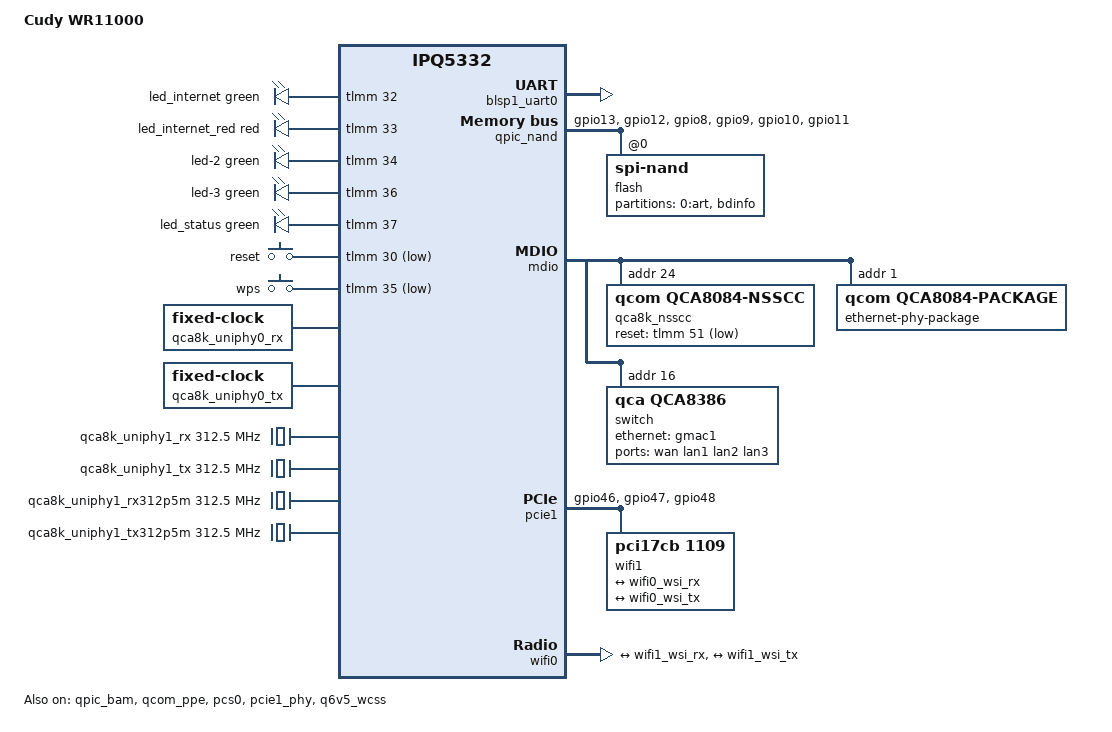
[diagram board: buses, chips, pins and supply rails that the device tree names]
// SPDX-License-Identifier: (GPL-2.0+ OR BSD-3-Clause)
/*
 * Cudy WR11000 (BE11000)
 *
 * Qualcomm IPQ5322 (IPQ5332 family), 512 MiB DDR4, 128 MiB SPI-NAND
 * (GigaDevice GD5F1GM7), 2.4 GHz on the SoC, 5 + 6 GHz on one QCN9224
 * (dual-MAC) on PCIe1, and a QCA8386 "Manhattan" switch with four 2.5G PHYs.
 *
 * Cudy calls the board "R65"; it is a derivative of the Qualcomm AP-MI01.6
 * reference design. Everything below was taken from Cudy's GPL release
 * (target/linux/ipq53xx/ipq53xx_32/R65/ipq5332-mi01.6.dts and
 * ipq5332-512MB-memory.dtsi) and the stock v2.5.234 UART boot log, then
 * mapped onto the mainline bindings the GL-BE9300/BE6500 ports use.
 */

/dts-v1/;

#include <arm64/qcom/ipq5332.dtsi>

#include <dt-bindings/gpio/gpio.h>
#include <dt-bindings/input/input.h>
#include <dt-bindings/leds/common.h>
#include <dt-bindings/clock/qcom,ipq5332-nsscc.h>
#include <dt-bindings/clock/qcom,qca8k-nsscc.h>
#include <dt-bindings/reset/qcom,qca8k-nsscc.h>
#include <dt-bindings/net/qcom,qca808x.h>

/ {
	#address-cells = <0x2>;
	#size-cells = <0x2>;
	model = "Cudy WR11000";
	compatible = "cudy,wr11000", "qcom,ipq5332";

	aliases {
		serial0 = &blsp1_uart0;
		led-boot = &led_status;
		led-failsafe = &led_internet_red;
		led-running = &led_status;
		led-upgrade = &led_status;
	};

	chosen {
		stdout-path = "serial0:115200n8";
		/*
		 * Stock U-Boot passes "ubi.mtd=rootfs root=mtd:ubi_rootfs
		 * rootfstype=squashfs". ubi.mtd=rootfs is what we want (the
		 * SBL always names the active slot "rootfs"); the root= is
		 * overridden here because OpenWrt's UBI image calls the
		 * squashfs volume "rootfs" (index 1), not "ubi_rootfs".
		 */
		bootargs-append = " root=/dev/ubiblock0_1";
	};

	/*
	 * 512 MiB memory profile, as in Cudy's ipq5332-512MB-memory.dtsi.
	 * The 512 MiB profile does not reserve tzapp (0x49b00000) - the vendor
	 * DT leaves it unset for 512M/256M - so neither do we.
	 */
	reserved-memory {
		#address-cells = <2>;
		#size-cells = <2>;
		ranges;

		/*
		 * UserPD host DDR / BDF window: the tail of q6_region, the same
		 * overlapping sub-window the GL-BE9300 port uses (vendor
		 * qcom,bdf-addr = 0x4b500000). of_reserved_mem logs "OVERLAP
		 * DETECTED" for this and carries on; that is expected.
		 */
		q6_host_ddr: host-ddr@4b500000 {
			reg = <0x0 0x4b500000 0x0 0x01700000>;
			no-map;
		};

		m3_dump: m3-dump@4cc00000 {
			reg = <0x0 0x4cc00000 0x0 0x100000>;
			no-map;
		};

		q6_etr: q6-etr-dump@4cd00000 {
			reg = <0x0 0x4cd00000 0x0 0x100000>;
			no-map;
		};

		q6_caldb: q6-caldb@4ce00000 {
			reg = <0x0 0x4ce00000 0x0 0x500000>;
			no-map;
		};

		/*
		 * Keep dmesg across a warm reset (read it back from
		 * /sys/fs/pstore). Sits in the unreserved gap between
		 * q6-caldb (ends 0x4d2fffff) and mlo-global-mem; mapped on
		 * purpose (no "no-map"), ramoops has to write here.
		 */
		ramoops@4da00000 {
			compatible = "ramoops";
			reg = <0x0 0x4da00000 0x0 0x100000>;
			console-size = <0x40000>;
			record-size = <0x20000>;
			pmsg-size = <0x20000>;
		};

		mlo_mem: mlo-global-mem@4db00000 {
			reg = <0x0 0x4db00000 0x0 0x01200000>;
			no-map;
		};

		/*
		 * QCN9224 host DDR, at the vendor's first WKK slot with the
		 * vendor 512 MiB profile's size, 37 MiB. The GL-BE9300/BE6500
		 * ports use 50 MiB, but they have 1 GiB of RAM. The in-tree
		 * firmware uses 32.3 MiB here in memory mode 1 ("using fixed
		 * PCI host DDR ... used 33857536"); a request that does not
		 * fit fails loudly ("exceeds host DDR size").
		 */
		qcn9274_host_ddr: qcn9274-host-ddr@4ed00000 {
			reg = <0x0 0x4ed00000 0x0 0x02500000>;
			no-map;
		};
	};

	/* GPIOs and polarity from the vendor R65 DT (all active high). */
	leds {
		compatible = "gpio-leds";
		pinctrl-0 = <&leds_pins>;
		pinctrl-names = "default";

		led_internet: led-0 {
			color = <LED_COLOR_ID_GREEN>;
			function = LED_FUNCTION_WAN;
			gpios = <&tlmm 32 GPIO_ACTIVE_HIGH>;
		};

		led_internet_red: led-1 {
			color = <LED_COLOR_ID_RED>;
			function = LED_FUNCTION_WAN;
			gpios = <&tlmm 33 GPIO_ACTIVE_HIGH>;
		};

		led-2 {
			color = <LED_COLOR_ID_GREEN>;
			function = LED_FUNCTION_WPS;
			gpios = <&tlmm 34 GPIO_ACTIVE_HIGH>;
		};

		led-3 {
			color = <LED_COLOR_ID_GREEN>;
			function = LED_FUNCTION_WLAN;
			gpios = <&tlmm 36 GPIO_ACTIVE_HIGH>;
		};

		led_status: led-4 {
			color = <LED_COLOR_ID_GREEN>;
			function = LED_FUNCTION_STATUS;
			gpios = <&tlmm 37 GPIO_ACTIVE_HIGH>;
		};
	};

	gpio-keys {
		compatible = "gpio-keys";
		pinctrl-0 = <&button_pins>;
		pinctrl-names = "default";

		button-reset {
			label = "reset";
			linux,code = <KEY_RESTART>;
			gpios = <&tlmm 30 GPIO_ACTIVE_LOW>;
			debounce-interval = <60>;
		};

		button-wps {
			label = "wps";
			linux,code = <KEY_WPS_BUTTON>;
			gpios = <&tlmm 35 GPIO_ACTIVE_LOW>;
			debounce-interval = <60>;
		};
	};
};

&blsp1_uart0 {
	pinctrl-0 = <&serial_0_pins>;
	pinctrl-names = "default";
	status = "okay";
};

&tlmm {
	qspi_nand_pins: qspi-nand-state {
		clock-pins {
			pins = "gpio13";
			function = "qspi_clk";
			drive-strength = <8>;
			bias-pull-down;
		};

		cs-pins {
			pins = "gpio12";
			function = "qspi_cs";
			drive-strength = <8>;
			bias-pull-up;
		};

		data-pins {
			pins = "gpio8", "gpio9", "gpio10", "gpio11";
			function = "qspi_data";
			drive-strength = <8>;
			bias-pull-down;
		};
	};

	leds_pins: leds-state {
		pins = "gpio32", "gpio33", "gpio34", "gpio36", "gpio37";
		function = "gpio";
		drive-strength = <8>;
		bias-pull-down;
	};

	/* gpio30 doubles as blsp1_i2c0 SDA in the vendor DT; the I2C bus is
	 * never enabled on this board, so it is a plain GPIO here. */
	button_pins: button-state {
		pins = "gpio30", "gpio35";
		function = "gpio";
		drive-strength = <8>;
		bias-pull-up;
	};

	pcie1_default: pcie1-default-state {
		clkreq-n-pins {
			pins = "gpio46";
			function = "pcie1_clk";
			drive-strength = <8>;
			bias-pull-up;
		};

		perst-n-pins {
			pins = "gpio47";
			function = "gpio";
			drive-strength = <8>;
			bias-pull-up;
			output-low;
		};

		wake-n-pins {
			pins = "gpio48";
			function = "pcie1_wake";
			drive-strength = <8>;
			bias-pull-up;
		};
	};
};

&qpic_bam {
	status = "okay";
};

&qpic_nand {
	pinctrl-0 = <&qspi_nand_pins>;
	pinctrl-names = "default";
	status = "okay";

	flash@0 {
		compatible = "spi-nand";
		reg = <0>;
		#address-cells = <1>;
		#size-cells = <1>;
		nand-ecc-engine = <&qpic_nand>;
		nand-ecc-strength = <8>;
		nand-ecc-step-size = <512>;

		/*
		 * The layout comes from the SMEM partition table the SBL loads
		 * from 0:MIBIB (names are lower-cased by the parser). Stock:
		 *   0x0f00000 0:ART      1 MiB   radio calibration
		 *   0x1000000 bdinfo   256 KiB   MAC address at 0xde00
		 *   0x1040000 rootfs    52 MiB   UBI: kernel + rootfs (active slot)
		 *   0x4460000 rootfs_1  52 MiB   UBI: the other slot
		 * The SBL swaps the rootfs/rootfs_1 names when booting the
		 * second slot, so "rootfs" is always the one U-Boot boots.
		 */
		partitions {
			compatible = "qcom,smem-part";

			partition-0-art {
				label = "0:art";
				read-only;
			};

			/* Base MAC as 6 raw bytes at 0xde00 (vendor nss-dp:
			 * mtd-mac-address = <&bdinfo 0xDE00>; LAN = base,
			 * WAN = base + 1). */
			partition-bdinfo {
				label = "bdinfo";
				read-only;

				nvmem-layout {
					compatible = "fixed-layout";
					#address-cells = <1>;
					#size-cells = <1>;

					base_macaddr: mac-address@de00 {
						compatible = "mac-base";
						reg = <0xde00 0x6>;
						#nvmem-cell-cells = <1>;
					};
				};
			};
		};
	};
};

/*
 * Ethernet
 *
 *   SoC PPE port 1 (UNIPHY0, pcs0) --2500base-x--> QCA8386 port 0 (UNIPHY1)
 *   QCA8386 port 1 = WAN, ports 2..4 = LAN (vendor board.d/01_network:
 *   "2:lan 3:lan 4:lan 1:wan 0@eth1"), PHYs at MDIO 1..4.
 *
 * Stock firmware additionally links switch port 5 (QCA8386 UNIPHY0) to PPE
 * port 2 and sends WAN up that second 2.5G lane. The QCA8386 DSA driver only
 * handles one CPU port so far, so this port runs WAN as a regular DSA user
 * port and shares the single 2.5G uplink; PPE port 2 is left off.
 *
 * Everything on the switch side sits behind one indirect MDIO window: the
 * QCA8386 NSS clock controller (pseudo-PHY 0x18), the QCA8084-style PHY
 * package, and the switch core (0x10). The package reset is tlmm 51
 * ("gpio51 for manhattan reset" in the vendor DT); it is owned by the nsscc
 * node only.
 */

&mdio {
	status = "okay";
	pinctrl-0 = <&mdio1_pins &mdio0_pins>;
	pinctrl-names = "default";

	/*
	 * Do not use "qcom,uniphy-clkout-regs" (patch 0464) here: writing
	 * the UNIPHY clock-out that early makes a flash boot reset with
	 * "NOC Error" (log 13). The clock-out is provided by pcs0 instead
	 * (patch 0466) and used as the QCA8386 XO below.
	 */

	/*
	 * Clocks are positional and MUST NOT have clock-names
	 * (nss_cc_qca8k_probe() takes index 0 as XO and enables it).
	 * XO is the UNIPHY0 50 MHz clock-out pin, <&pcs0 2> (patch 0466):
	 * clearing that bit at runtime stops all switch traffic (measured
	 * with devmem). Taking it from pcs0 also makes this controller -
	 * and so the PHYs and the switch - probe only once pcs0 has its
	 * UNIPHY clocks on, which a flash boot needs. The UNIPHY inputs are
	 * generated inside the QCA8386 and declared as fixed clocks only so
	 * the CCF can pick parents; UNIPHY0 is unused in this mode and is
	 * pinned at 0 Hz so no RCG ever selects it (see the SPNMX57 notes:
	 * a 125 MHz stub there leaves the user ports on a dead parent).
	 */
	qca8k_nsscc: clock-controller@18 {
		compatible = "qcom,qca8084-nsscc";
		reg = <0x18>;
		reset-gpios = <&tlmm 51 GPIO_ACTIVE_LOW>;
		#clock-cells = <1>;
		#reset-cells = <1>;
		#power-domain-cells = <1>;

		clocks = <&pcs0 2>,
			 <&qca8k_uniphy0_rx>,
			 <&qca8k_uniphy0_tx>,
			 <&qca8k_uniphy1_rx>,
			 <&qca8k_uniphy1_tx>,
			 <&qca8k_uniphy1_rx312p5m>,
			 <&qca8k_uniphy1_tx312p5m>;
	};

	/*
	 * The four integrated 2.5G PHYs. package-mode 1 = switch mode: PCS1
	 * runs SGMII+ towards switch MAC0, no XPCS. The address fixup matches
	 * what the vendor mdio driver programs (0xc90f018 = 0x320c41 -> PHYs
	 * 1..4, 0xc90f014 = 0x1cc5 -> UNIPHY 5..7).
	 */
	ethernet-phy-package@1 {
		compatible = "qcom,qca8084-package";
		reg = <1>;
		#address-cells = <1>;
		#size-cells = <0>;

		clocks = <&qca8k_nsscc NSS_CC_APB_BRIDGE_CLK>,
			 <&qca8k_nsscc NSS_CC_AHB_CLK>,
			 <&qca8k_nsscc NSS_CC_SEC_CTRL_AHB_CLK>,
			 <&qca8k_nsscc NSS_CC_TLMM_CLK>,
			 <&qca8k_nsscc NSS_CC_TLMM_AHB_CLK>,
			 <&qca8k_nsscc NSS_CC_CNOC_AHB_CLK>,
			 <&qca8k_nsscc NSS_CC_MDIO_AHB_CLK>,
			 <&qca8k_nsscc NSS_CC_MDIO_MASTER_AHB_CLK>,
			 <&qca8k_nsscc NSS_CC_SWITCH_CORE_CLK>;
		/* switch_core and mdio_master_ahb must have a consumer, or
		 * clk_disable_unused() gates them and the switch goes dead. */
		clock-names = "apb_bridge", "ahb", "sec_ctrl_ahb",
			      "tlmm", "tlmm_ahb", "cnoc_ahb", "mdio_ahb",
			      "mdio_master_ahb", "switch_core";
		resets = <&qca8k_nsscc NSS_CC_GEPHY_FULL_ARES>;

		qcom,package-mode = <QCA808X_PCS1_SGMII_MAC_PCS0_SGMII_MAC>;
		qcom,phy-addr-fixup = <1 2 3 4 5 6 7>;

		ephy1: ethernet-phy@1 {
			compatible = "ethernet-phy-id004d.d180";
			reg = <1>;
			clocks = <&qca8k_nsscc NSS_CC_GEPHY0_SYS_CLK>;
			resets = <&qca8k_nsscc NSS_CC_GEPHY0_SYS_ARES>;
		};

		ephy2: ethernet-phy@2 {
			compatible = "ethernet-phy-id004d.d180";
			reg = <2>;
			clocks = <&qca8k_nsscc NSS_CC_GEPHY1_SYS_CLK>;
			resets = <&qca8k_nsscc NSS_CC_GEPHY1_SYS_ARES>;
		};

		ephy3: ethernet-phy@3 {
			compatible = "ethernet-phy-id004d.d180";
			reg = <3>;
			clocks = <&qca8k_nsscc NSS_CC_GEPHY2_SYS_CLK>;
			resets = <&qca8k_nsscc NSS_CC_GEPHY2_SYS_ARES>;
		};

		ephy4: ethernet-phy@4 {
			compatible = "ethernet-phy-id004d.d180";
			reg = <4>;
			clocks = <&qca8k_nsscc NSS_CC_GEPHY3_SYS_CLK>;
			resets = <&qca8k_nsscc NSS_CC_GEPHY3_SYS_ARES>;
		};

		/* PCS1 (UNIPHY1) SGMII+ carrying the switch CPU port. */
		pcs-phy@6 {
			compatible = "qcom,qca8k-pcs-phy";
			reg = <6>;
			clocks = <&qca8k_nsscc NSS_CC_SRDS1_SYS_CLK>,
				 <&qca8k_uniphy1_tx312p5m>,
				 <&qca8k_uniphy1_rx312p5m>;
			clock-names = "pcs", "pcs_rx_root", "pcs_tx_root";
			resets = <&qca8k_nsscc NSS_CC_SRDS1_SYS_ARES>;
		};
	};

	switch@10 {
		compatible = "qca,qca8386";
		reg = <0x10>;
		#address-cells = <1>;
		#size-cells = <0>;

		/* Switch core + MAC0..5 resets, pulsed by the driver before
		 * the first register write (vendor qca_mht_switch_reset()). */
		resets = <&qca8k_nsscc NSS_CC_SWITCH_CORE_ARES>,
			 <&qca8k_nsscc NSS_CC_MAC0_TX_ARES>,
			 <&qca8k_nsscc NSS_CC_MAC0_RX_ARES>,
			 <&qca8k_nsscc NSS_CC_MAC1_TX_ARES>,
			 <&qca8k_nsscc NSS_CC_MAC1_RX_ARES>,
			 <&qca8k_nsscc NSS_CC_MAC2_TX_ARES>,
			 <&qca8k_nsscc NSS_CC_MAC2_RX_ARES>,
			 <&qca8k_nsscc NSS_CC_MAC3_TX_ARES>,
			 <&qca8k_nsscc NSS_CC_MAC3_RX_ARES>,
			 <&qca8k_nsscc NSS_CC_MAC4_TX_ARES>,
			 <&qca8k_nsscc NSS_CC_MAC4_RX_ARES>,
			 <&qca8k_nsscc NSS_CC_MAC5_TX_ARES>,
			 <&qca8k_nsscc NSS_CC_MAC5_RX_ARES>;
		reset-names = "switch_core",
			      "mac0_tx", "mac0_rx",
			      "mac1_tx", "mac1_rx",
			      "mac2_tx", "mac2_rx",
			      "mac3_tx", "mac3_rx",
			      "mac4_tx", "mac4_rx",
			      "mac5_tx", "mac5_rx";

		/* Per-port datapath clocks, four per port (tx, rx, then the
		 * line side: SerDes1 for the CPU port, GEPHY for user ports).
		 * The driver indexes them as port * 4. */
		clocks = <&qca8k_nsscc NSS_CC_MAC0_TX_CLK>,
			 <&qca8k_nsscc NSS_CC_MAC0_RX_CLK>,
			 <&qca8k_nsscc NSS_CC_MAC0_TX_SRDS1_CLK>,
			 <&qca8k_nsscc NSS_CC_MAC0_RX_SRDS1_CLK>,
			 <&qca8k_nsscc NSS_CC_MAC1_TX_CLK>,
			 <&qca8k_nsscc NSS_CC_MAC1_RX_CLK>,
			 <&qca8k_nsscc NSS_CC_MAC1_GEPHY0_TX_CLK>,
			 <&qca8k_nsscc NSS_CC_MAC1_GEPHY0_RX_CLK>,
			 <&qca8k_nsscc NSS_CC_MAC2_TX_CLK>,
			 <&qca8k_nsscc NSS_CC_MAC2_RX_CLK>,
			 <&qca8k_nsscc NSS_CC_MAC2_GEPHY1_TX_CLK>,
			 <&qca8k_nsscc NSS_CC_MAC2_GEPHY1_RX_CLK>,
			 <&qca8k_nsscc NSS_CC_MAC3_TX_CLK>,
			 <&qca8k_nsscc NSS_CC_MAC3_RX_CLK>,
			 <&qca8k_nsscc NSS_CC_MAC3_GEPHY2_TX_CLK>,
			 <&qca8k_nsscc NSS_CC_MAC3_GEPHY2_RX_CLK>,
			 <&qca8k_nsscc NSS_CC_MAC4_TX_CLK>,
			 <&qca8k_nsscc NSS_CC_MAC4_RX_CLK>,
			 <&qca8k_nsscc NSS_CC_MAC4_GEPHY3_TX_CLK>,
			 <&qca8k_nsscc NSS_CC_MAC4_GEPHY3_RX_CLK>;
		clock-names = "mac0_tx", "mac0_rx", "mac0_tx_srds1", "mac0_rx_srds1",
			      "mac1_tx", "mac1_rx", "mac1_gephy_tx", "mac1_gephy_rx",
			      "mac2_tx", "mac2_rx", "mac2_gephy_tx", "mac2_gephy_rx",
			      "mac3_tx", "mac3_rx", "mac3_gephy_tx", "mac3_gephy_rx",
			      "mac4_tx", "mac4_rx", "mac4_gephy_tx", "mac4_gephy_rx";

		ports {
			#address-cells = <1>;
			#size-cells = <0>;

			port@0 {
				reg = <0>;
				ethernet = <&gmac1>;
				phy-mode = "2500base-x";

				fixed-link {
					speed = <2500>;
					full-duplex;
				};
			};

			port@1 {
				reg = <1>;
				label = "wan";
				phy-mode = "internal";
				phy-handle = <&ephy1>;
			};

			/*
			 * LAN numbering follows switch port order. Which jack
			 * is which still has to be checked on hardware
			 * (one cable, watch which netdev gets carrier).
			 */
			port@2 {
				reg = <2>;
				label = "lan1";
				phy-mode = "internal";
				phy-handle = <&ephy2>;
			};

			port@3 {
				reg = <3>;
				label = "lan2";
				phy-mode = "internal";
				phy-handle = <&ephy3>;
			};

			port@4 {
				reg = <4>;
				label = "lan3";
				phy-mode = "internal";
				phy-handle = <&ephy4>;
			};
		};
	};
};

/ {
	qca8k_uniphy0_rx: clock-qca8k-uniphy0-rx {
		compatible = "fixed-clock";
		#clock-cells = <0>;
		clock-frequency = <0>;
	};

	qca8k_uniphy0_tx: clock-qca8k-uniphy0-tx {
		compatible = "fixed-clock";
		#clock-cells = <0>;
		clock-frequency = <0>;
	};

	qca8k_uniphy1_rx: clock-qca8k-uniphy1-rx {
		compatible = "fixed-clock";
		#clock-cells = <0>;
		clock-frequency = <312500000>;
	};

	qca8k_uniphy1_tx: clock-qca8k-uniphy1-tx {
		compatible = "fixed-clock";
		#clock-cells = <0>;
		clock-frequency = <312500000>;
	};

	qca8k_uniphy1_rx312p5m: clock-qca8k-uniphy1-rx312p5m {
		compatible = "fixed-clock";
		#clock-cells = <0>;
		clock-frequency = <312500000>;
	};

	qca8k_uniphy1_tx312p5m: clock-qca8k-uniphy1-tx312p5m {
		compatible = "fixed-clock";
		#clock-cells = <0>;
		clock-frequency = <312500000>;
	};
};

&qcom_ppe {
	status = "okay";

	ethernet-ports {
		#address-cells = <1>;
		#size-cells = <0>;

		/* DSA conduit: forced 2.5G SGMII+ to QCA8386 port 0
		 * (vendor dp2: qcom,id = 1, forced-speed 2500). */
		gmac1: port@1 {
			reg = <1>;
			phy-mode = "2500base-x";
			label = "eth0";
			pcs-handle = <&pcs0_ch0>;
			nvmem-cells = <&base_macaddr 0>;
			nvmem-cell-names = "mac-address";
			clocks = <&nsscc NSS_CC_PORT1_MAC_CLK>,
				 <&nsscc NSS_CC_PORT1_RX_CLK>,
				 <&nsscc NSS_CC_PORT1_TX_CLK>;
			clock-names = "mac",
				      "rx",
				      "tx";
			resets = <&nsscc NSS_CC_PORT1_MAC_CLK_ARES>,
				 <&nsscc NSS_CC_PORT1_RX_CLK_ARES>,
				 <&nsscc NSS_CC_PORT1_TX_CLK_ARES>;
			reset-names = "mac",
				      "rx",
				      "tx";

			fixed-link {
				speed = <2500>;
				full-duplex;
				pause;
			};
		};
	};
};

&pcs0 {
	status = "okay";
};

&pcie1_phy {
	status = "okay";
};

&pcie1 {
	status = "okay";

	pinctrl-0 = <&pcie1_default>;
	pinctrl-names = "default";

	perst-gpios = <&tlmm 47 GPIO_ACTIVE_LOW>;
	wake-gpios = <&tlmm 48 GPIO_ACTIVE_LOW>;

	pcie@0 {
		/*
		 * QCN9224 running dual-MAC firmware: MAC0 = 5 GHz,
		 * MAC1 = 6 GHz. OTP board-id is unprovisioned (stock log:
		 * board_id 0xff), so the board-id and radio count come from
		 * DT. Vendor board_id is 0x1019, same as the GL-BE9300.
		 */
		wifi1: pcie@0 {
			compatible = "pci17cb,1109";
			reg = <0x00010000 0 0 0 0>;
			memory-region = <&qcn9274_host_ddr>, <&mlo_mem>;
			memory-region-names = "host-ddr-mem", "mlo-global-mem";
			qcom,ath12k-fw-memory-mode = <1>;
			qcom,board-id = <0x1019>;
			qcom,num-radios = <2>;
			/* 5 GHz radio = base + 2 (stock 99_oem); the 6 GHz pdev is
			 * derived by ath12k, the BSSIDs by macaddr_base. */
			nvmem-cells = <&base_macaddr 2>;
			nvmem-cell-names = "mac-address";

			ports {
				#address-cells = <1>;
				#size-cells = <0>;

				port@0 {
					reg = <0>;

					wifi1_wsi_tx: endpoint {
						remote-endpoint = <&wifi0_wsi_rx>;
					};
				};

				port@1 {
					reg = <1>;

					wifi1_wsi_rx: endpoint {
						remote-endpoint = <&wifi0_wsi_tx>;
					};
				};
			};
		};
	};
};

/*
 * The bootstrap pins select a 48 or 96 MHz XO; the WiFi block divides it so
 * the CMN PLL always sees 48 MHz.
 */
&ref_48mhz_clk {
	clock-div = <1>;
	clock-mult = <1>;
};

&sleep_clk {
	clock-frequency = <32000>;
};

/* xo_board is fixed at 24 MHz: the 48 MHz WiFi output divided by 2. */
&xo_board {
	clock-div = <2>;
	clock-mult = <1>;
};

&xo_clk {
	clock-frequency = <48000000>;
};

/* IPQ5332 integrated 2.4 GHz radio (AHB). Vendor qcom,board_id = <0x16>. */
&wifi0 {
	firmware-name = "ath12k/IPQ5332/hw1.0/q6_fw1.mdt",
			"ath12k/IPQ5332/hw1.0/iu_fw.mdt";
	/* "q6-region" must stay first: ath12k resolves the UserPD image by
	 * index 0 (ahb.c). The rest are looked up by name. */
	memory-region = <&q6_region>, <&q6_host_ddr>, <&m3_dump>, <&q6_caldb>,
			<&mlo_mem>, <&q6_etr>;
	memory-region-names = "q6-region", "host-ddr-mem", "m3-dump", "q6-caldb",
			      "mlo-global-mem", "q6-etr-dump";
	qcom,board-id = <0x16>;
	/* Low-memory profile, as stock runs this chip ([512M] in
	 * QCA5332_i.ini) and as the QCN9224 does. Needs patch 993: upstream
	 * ahb.c hard-codes the default mode. */
	qcom,ath12k-fw-memory-mode = <1>;
	qcom,rproc = <&q6v5_wcss>;
	/* 2.4 GHz radio = bdinfo base, as on stock. Also becomes the
	 * MLO wiphy address (radio 0). */
	nvmem-cells = <&base_macaddr 0>;
	nvmem-cell-names = "mac-address";
	qcom,wsi-controller;
	status = "okay";

	ports {
		#address-cells = <1>;
		#size-cells = <0>;

		port@0 {
			reg = <0>;

			wifi0_wsi_tx: endpoint {
				remote-endpoint = <&wifi1_wsi_rx>;
			};
		};

		port@1 {
			reg = <1>;

			wifi0_wsi_rx: endpoint {
				remote-endpoint = <&wifi1_wsi_tx>;
			};
		};
	};
};

&q6v5_wcss {
	firmware-name = "ath12k/IPQ5332/hw1.0/q6_fw0.mdt";
	qcom,bootargs_smem = <507>;
	qcom,bootargs_version = <2>;
	upd-firmware-names = "ath12k/IPQ5332/hw1.0/q6_fw1.mdt";
	status = "okay";
};

/* 512 MiB profile: Q6 span is 35 MiB at 0x4a900000 (wcnss@4a900000 in the
 * vendor ipq5332-512MB-memory.dtsi), ending where m3-dump starts. */
&q6_region {
	reg = <0x0 0x4a900000 0x0 0x02300000>;
};
